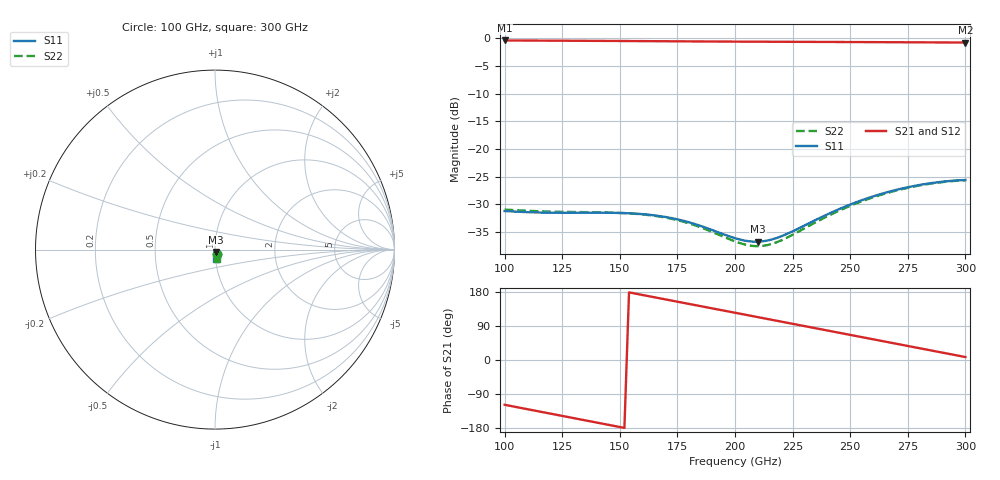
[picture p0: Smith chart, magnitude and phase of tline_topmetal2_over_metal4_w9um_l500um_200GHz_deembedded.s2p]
! Created with skrf 2.2.0 (http://scikit-rf.org).
# GHz S DB R 50.0
! Port[1] = P1
! Port[2] = P2
!freq dBS11 angS11 dBS21 angS21 dBS12 angS12 dBS22 angS22
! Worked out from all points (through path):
!   101 points, 100 GHz to 300 GHz, reference 50 ohm
!   highest |S21| = -0.40 dB at 100 GHz (marker M1); lowest = -0.8 dB at 300 GHz (marker M2)
!   group delay of S21, straight-line fit = 3.25 ps
!   lowest |S11| = -36.8 dB at 210 GHz (marker M3), VSWR 1.03, Z = 50.4 - j1.4 ohm
!   |S11| at or under -10 dB: start of sweep to end of sweep
!   |S22| runs from -37.6 to -25.7 dB; largest |S21 - S12| = 1.1e-14
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100  -31.22 -65.9  -0.40 -118.2  -0.40 -118.2  -30.96 -68.0
108  -31.40 -68.7  -0.41 -127.6  -0.41 -127.6  -31.15 -71.2
118  -31.52 -71.8  -0.43 -139.3  -0.43 -139.3  -31.31 -74.7
126  -31.55 -74.1  -0.45 -148.7  -0.45 -148.7  -31.38 -77.3
134  -31.54 -76.6  -0.46 -158.1  -0.46 -158.1  -31.42 -80.0
142  -31.53 -79.5  -0.48 -167.5  -0.48 -167.5  -31.47 -83.0
150  -31.58 -82.8  -0.50 -176.9  -0.50 -176.9  -31.57 -86.3
158  -31.74 -86.5  -0.51 173.8  -0.51 173.8  -31.77 -90.0
168  -32.18 -91.1  -0.54 162.1  -0.54 162.1  -32.28 -94.7
184  -33.77 -95.9  -0.58 143.4  -0.58 143.4  -34.01 -99.8
200  -36.13 -88.2  -0.61 124.7  -0.61 124.7  -36.72 -91.7
210  -36.77 -73.7  -0.63 113.0  -0.63 113.0  -37.58 -75.2
218  -36.11 -61.1  -0.64 103.7  -0.64 103.7  -36.88 -60.5
226  -34.70 -52.4  -0.65 94.3  -0.65 94.3  -35.30 -50.5
234  -33.05 -48.3  -0.66 85.0  -0.66 85.0  -33.49 -45.9
242  -31.47 -47.7  -0.67 75.6  -0.67 75.6  -31.78 -45.3
250  -30.06 -49.5  -0.69 66.3  -0.69 66.3  -30.29 -47.1
258  -28.85 -53.0  -0.70 56.9  -0.70 56.9  -29.03 -50.6
268  -27.61 -58.9  -0.72 45.2  -0.72 45.2  -27.75 -56.4
284  -26.25 -70.5  -0.75 26.5  -0.75 26.5  -26.34 -67.8
292  -25.85 -76.9  -0.76 17.1  -0.76 17.1  -25.91 -74.1
300  -25.62 -83.5  -0.78 7.8  -0.78 7.8  -25.66 -80.5
